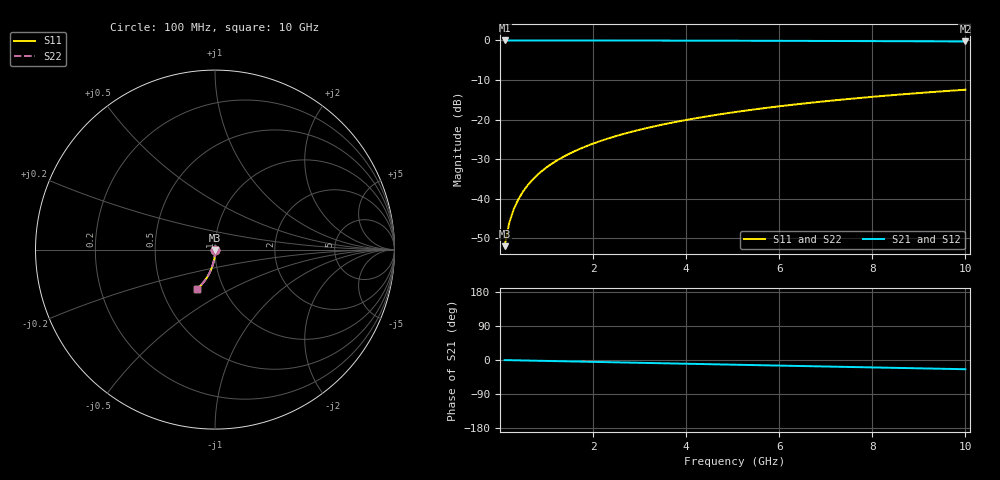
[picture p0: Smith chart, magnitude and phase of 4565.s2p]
# Hz S RI R 50.00
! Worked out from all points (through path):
!   100 points, 100 MHz to 10 GHz, reference 50 ohm
!   highest |S21| = 0.00 dB at 100 MHz (marker M1); lowest = -0.3 dB at 10 GHz (marker M2)
!   group delay of S21, straight-line fit = 6.77 ps
!   lowest |S11| = -52.0 dB at 100 MHz (marker M3), VSWR 1.01, Z = 50 - j0.249 ohm
!   |S11| at or under -10 dB: start of sweep to end of sweep
!   |S22| runs from -52.0 to -12.4 dB; largest |S21 - S12| = 0
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1e8  0.000379 -0.00249  0.9996 -0.0043  0.9996 -0.0043  0.000379 -0.00249
2e8  0.000346 -0.00498  0.9995 -0.0086  0.9995 -0.0086  0.000346 -0.00498
3e8  0.000291 -0.00747  0.9995 -0.0129  0.9995 -0.0129  0.000291 -0.00747
4e8  0.000215 -0.00996  0.9994 -0.0172  0.9994 -0.0172  0.000215 -0.00996
5e8  0.000117 -0.0124  0.9993 -0.0215  0.9993 -0.0215  0.000117 -0.0124
6e8  -3.12e-06 -0.0149  0.9991 -0.0258  0.9991 -0.0258  -3.12e-06 -0.0149
7e8  -0.000144 -0.0174  0.999 -0.0301  0.999 -0.0301  -0.000144 -0.0174
8e8  -0.000307 -0.0199  0.9988 -0.0344  0.9988 -0.0344  -0.000307 -0.0199
9e8  -0.000491 -0.0224  0.9986 -0.0387  0.9986 -0.0387  -0.000491 -0.0224
1.1e9  -0.000923 -0.0273  0.9981 -0.0473  0.9981 -0.0473  -0.000923 -0.0273
1.4e9  -0.00173 -0.0348  0.9971 -0.0601  0.9971 -0.0601  -0.00173 -0.0348
1.8e9  -0.00311 -0.0446  0.9955 -0.0772  0.9955 -0.0772  -0.00311 -0.0446
2.1e9  -0.00436 -0.052  0.9941 -0.09  0.9941 -0.09  -0.00436 -0.052
2.5e9  -0.00632 -0.0617  0.9918 -0.107  0.9918 -0.107  -0.00632 -0.0617
2.9e9  -0.00862 -0.0714  0.9892 -0.124  0.9892 -0.124  -0.00862 -0.0714
3.4e9  -0.012 -0.0834  0.9853 -0.145  0.9853 -0.145  -0.012 -0.0834
4.2e9  -0.0183 -0.1022  0.9779 -0.1783  0.9779 -0.1783  -0.0183 -0.1022
5.1e9  -0.027 -0.1227  0.9678 -0.2152  0.9678 -0.2152  -0.027 -0.1227
5.9e9  -0.036 -0.1403  0.9574 -0.2474  0.9574 -0.2474  -0.036 -0.1403
6.7e9  -0.0461 -0.1571  0.9456 -0.2789  0.9456 -0.2789  -0.0461 -0.1571
8.4e9  -0.071 -0.1902  0.9163 -0.3431  0.9163 -0.3431  -0.071 -0.1902
1e10  -0.0982 -0.2174  0.8841 -0.3999  0.8841 -0.3999  -0.0982 -0.2174
